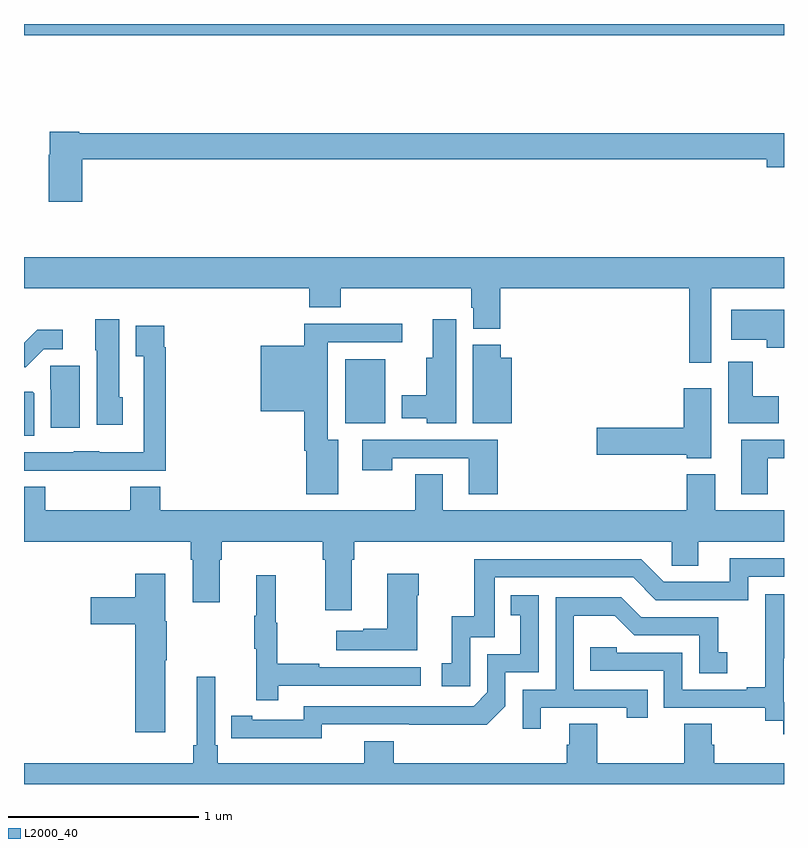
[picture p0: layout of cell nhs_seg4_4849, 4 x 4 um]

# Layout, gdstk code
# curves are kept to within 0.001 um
import gdstk
lib = gdstk.Library(unit=1e-6, precision=1e-09)
def R(c, l, rs):  # rectangles x0, y0, x1, y1
    for r in rs: c.add(gdstk.rectangle(r[:2], r[2:], *l))
def P(c, l, *ps):  # polygons
    for p in ps: c.add(gdstk.Polygon(p, *l))
L2000_40 = (2000, 40)

nhs_seg4_4849 = lib.new_cell('nhs_seg4_4849')
R(nhs_seg4_4849, L2000_40, [(374.69,774.8,374.902,775.135), (373,776.84,377,776.9)])
P(nhs_seg4_4849, L2000_40, [(373.307,776.188),(376.91,776.188),(376.91,776.146),(377,776.146),(377,776.324),(373.29,776.324),(373.29,776.332),(373.136,776.332),(373.136,776.213),(373.129,776.213),(373.129,775.965),(373.307,775.965)],
  [(376.617,775.508),(377,775.508),(377,775.672),(373,775.672),(373,775.508),(374.501,775.508),(374.501,775.409),(374.666,775.409),(374.666,775.508),(375.353,775.508),(375.353,775.407),(375.365,775.407),(375.365,775.297),(375.506,775.297),(375.506,775.508),(376.501,775.508),(376.501,775.116),(376.617,775.116)],
  [(377,775.396),(376.722,775.396),(376.722,775.238),(376.91,775.238),(376.91,775.196),(377,775.196)],
  [(375.274,775.345),(375.152,775.345),(375.152,775.144),(375.116,775.144),(375.116,774.946),(374.987,774.946),(374.987,774.824),(375.12,774.824),(375.12,774.8),(375.274,774.8)],
  [(373.519,774.936),(373.501,774.936),(373.501,775.345),(373.376,775.345),(373.376,775.182),(373.382,775.182),(373.382,774.792),(373.519,774.792)],
  [(374.653,774.712),(374.599,774.712),(374.599,775.224),(374.992,775.224),(374.992,775.322),(374.474,775.322),(374.474,775.207),(374.246,775.207),(374.246,774.863),(374.474,774.863),(374.474,774.653),(374.486,774.653),(374.486,774.426),(374.653,774.426)],
  [(373.495,774.549),(373.745,774.549),(373.745,775.199),(373.738,775.199),(373.738,775.312),(373.589,775.312),(373.589,775.151),(373.629,775.151),(373.629,774.646),(373.395,774.646),(373.395,774.652),(373.263,774.652),(373.263,774.645),(373,774.645),(373,774.549),(373.263,774.549),(373.263,774.548),(373.495,774.548)],
  [(373.104,775.188),(373.204,775.188),(373.204,775.291),(373.069,775.291),(373,775.222),(373,775.094),(373.009,775.094)],
  [(375.568,775.144),(375.509,775.144),(375.509,775.212),(375.362,775.212),(375.362,774.8),(375.568,774.8)],
  [(376.972,774.94),(376.836,774.94),(376.836,775.123),(376.706,775.123),(376.706,774.8),(376.972,774.8)],
  [(373.294,775.101),(373.138,775.101),(373.138,774.978),(373.142,774.978),(373.142,774.774),(373.294,774.774)],
  [(376.618,774.982),(376.472,774.982),(376.472,774.776),(376.014,774.776),(376.014,774.634),(376.488,774.634),(376.488,774.614),(376.618,774.614)],
  [(373.054,774.956),(373.046,774.964),(373,774.964),(373,774.734),(373.054,774.734)],
  [(375.494,774.711),(374.781,774.711),(374.781,774.552),(374.937,774.552),(374.937,774.615),(375.341,774.615),(375.341,774.426),(375.494,774.426)],
  [(376.915,774.615),(377,774.615),(377,774.711),(376.775,774.711),(376.775,774.426),(376.915,774.426)],
  [(374.725,774.08),(374.738,774.08),(374.738,774.176),(376.41,774.176),(376.41,774.049),(376.549,774.049),(376.549,774.176),(377,774.176),(377,774.34),(376.639,774.34),(376.639,774.529),(376.487,774.529),(376.487,774.34),(375.205,774.34),(375.205,774.53),(375.058,774.53),(375.058,774.34),(373.718,774.34),(373.718,774.464),(373.558,774.464),(373.558,774.34),(373.113,774.34),(373.113,774.464),(373,774.464),(373,774.176),(373.877,774.176),(373.877,774.08),(373.889,774.08),(373.889,773.856),(374.029,773.856),(374.029,774.08),(374.042,774.08),(374.042,774.176),(374.573,774.176),(374.573,774.08),(374.585,774.08),(374.585,773.814),(374.725,773.814)],
  [(375.348,773.673),(375.477,773.673),(375.477,773.988),(376.206,773.988),(376.326,773.868),(376.812,773.868),(376.812,773.991),(377,773.991),(377,774.087),(376.715,774.087),(376.715,773.964),(376.368,773.964),(376.248,774.084),(375.369,774.084),(375.369,773.782),(375.251,773.782),(375.251,773.535),(375.198,773.535),(375.198,773.415),(375.348,773.415)],
  [(373.744,773.551),(373.752,773.551),(373.752,773.757),(373.744,773.757),(373.744,774.007),(373.586,774.007),(373.586,773.883),(373.35,773.883),(373.35,773.741),(373.586,773.741),(373.586,773.172),(373.744,773.172)],
  [(375.07,773.894),(375.078,773.894),(375.078,774.007),(374.912,774.007),(374.912,773.717),(374.786,773.717),(374.786,773.707),(374.643,773.707),(374.643,773.603),(375.07,773.603)],
  [(374.339,773.418),(375.088,773.418),(375.088,773.514),(374.555,773.514),(374.555,773.534),(374.332,773.534),(374.332,773.748),(374.324,773.748),(374.324,773.998),(374.222,773.998),(374.222,773.785),(374.211,773.785),(374.211,773.611),(374.222,773.611),(374.222,773.34),(374.339,773.34)],
  [(377,773.331),(376.998,773.331),(376.998,773.561),(377,773.561),(377,773.899),(376.9,773.899),(376.9,773.693),(376.901,773.693),(376.901,773.41),(376.805,773.41),(376.805,773.397),(376.464,773.397),(376.464,773.592),(376.119,773.592),(376.119,773.619),(375.979,773.619),(375.979,773.496),(376.368,773.496),(376.368,773.301),(376.902,773.301),(376.902,773.233),(376.995,773.233),(376.995,773.163),(377,773.163)],
  [(374.568,773.214),(375.436,773.213),(375.534,773.31),(375.534,773.487),(375.708,773.487),(375.708,773.893),(375.562,773.893),(375.562,773.787),(375.611,773.787),(375.611,773.583),(375.438,773.583),(375.438,773.382),(375.366,773.31),(374.472,773.31),(374.472,773.238),(374.2,773.238),(374.2,773.258),(374.092,773.258),(374.092,773.142),(374.568,773.141)],
  [(375.721,773.301),(376.172,773.301),(376.172,773.25),(376.283,773.25),(376.283,773.397),(375.894,773.397),(375.894,773.786),(376.108,773.786),(376.212,773.682),(376.554,773.682),(376.554,773.484),(376.702,773.484),(376.702,773.593),(376.653,773.593),(376.653,773.778),(376.249,773.778),(376.144,773.883),(375.798,773.883),(375.798,773.397),(375.624,773.397),(375.624,773.19),(375.721,773.19)],
  [(377,773.008),(376.634,773.008),(376.634,773.106),(376.621,773.106),(376.621,773.216),(376.474,773.216),(376.474,773.008),(376.017,773.008),(376.017,773.216),(375.869,773.216),(375.869,773.106),(375.857,773.106),(375.857,773.008),(374.945,773.008),(374.945,773.125),(374.792,773.125),(374.792,773.008),(374.021,773.008),(374.021,773.104),(374.007,773.104),(374.007,773.464),(373.91,773.464),(373.91,773.104),(373.891,773.104),(373.891,773.008),(373,773.008),(373,772.9),(377,772.9)])

lib.write_gds('nhs_seg4_4849.gds')
